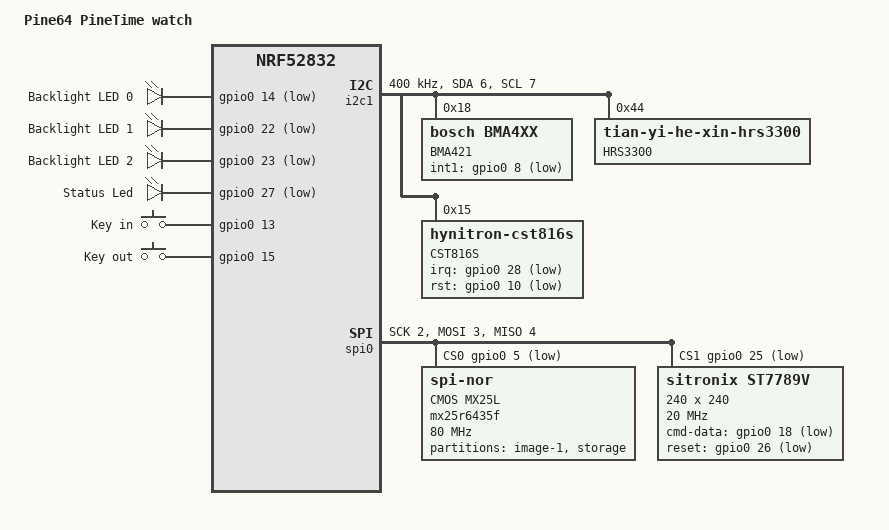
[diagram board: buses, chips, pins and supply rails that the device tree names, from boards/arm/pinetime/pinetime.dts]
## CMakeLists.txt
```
cmake_minimum_required(VERSION 3.20.0)

# Add the board
list(APPEND BOARD_ROOT ${CMAKE_CURRENT_LIST_DIR})

find_package(Zephyr REQUIRED HINTS $ENV{ZEPHYR_BASE})
project(ztime)

FILE(GLOB app_sources src/*.c src/ble/*.c)
target_sources(app PRIVATE ${app_sources})
target_include_directories(app PRIVATE src)
```

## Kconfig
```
menu "ztime"

rsource "Kconfig.log_backend_ble"
rsource "Kconfig.button"

endmenu

source "Kconfig.zephyr"
```

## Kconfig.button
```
config ZTIME_BUTTON
  bool "Enable pinetime button driver"
  select GPIO
  depends on BOARD_PINETIME
  help
    When enabled pinetime button driver is ready for using.

if ZTIME_BUTTON

config BUTTON_DEBOUNCE_DELAY_MS
  int "Time used to debounce the pressed key. Use 0 to disable the feature."
  default 5

config BUTTON_DOUBLE_CLICK_DURATION_MS
  int "Time used for double click detection."
  default 200

config BUTTON_HOLD_DURATION_MS
  int "Time used to detect button hold down."
  default 3000

config BUTTON_INIT_PRIORITY
  int "Init priority"
  default 60

endif # ZTIME_BUTTON
```

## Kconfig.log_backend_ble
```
config LOG_BACKEND_BLE_NUS
  bool "Enable BLE NUS backend"
  select RING_BUFFER
  depends on BT
  depends on LOG
  help
    When enabled backend is using BLE NUS service to output logs.

if LOG_BACKEND_BLE_NUS

config LOG_BACKEND_BLE_NUS_THREAD_STACKSIZE
  int "Size of stack area used by BLE_LOG thread"
  default 1024

config LOG_BACKEND_BLE_NUS_THREAD_PRIORITY
  int "Scheduling priority used by BLE_LOG thread"
  default 7

config LOG_BACKEND_BLE_NUS_BUFFER_SIZE
  int "Size of buffer which used by BLE_LOG thread"
  default 1024

config LOG_BACKEND_BLE_NUS_SYST_ENABLE
  bool "MIPI SyS-T"
  depends on LOG_BACKEND_BLE_NUS
  depends on LOG_MIPI_SYST_ENABLE
  help
    When enabled backend is using BLE to output syst format logs.

endif # LOG_BACKEND_BLE_NUS
```

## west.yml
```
# The west manifest file for ztime.
#
# The per-installation west configuration file specifies the location of this
# manifest file. The "path" option in the [manifest] section of .west/config
# defines the folder that contains west.yml. The path is relative to the folder
# that contains .west.
#
# You can create your own manifest files and put them in any
# repository you want, to create your own custom Pinetime installation.
# For example, you could create a manifest file in your own
# out-of-tree application directory, which would pull the pinetime repository
# in as an ordinary project.
#
# You can pass your manifest repositories to west init when creating a
# new pinetime installation. See the west documentation for more
# information.

manifest:
  defaults:
    remote: ztime

  remotes:
    - name: ztime
      url-base: https://github.com/zephyrproject-rtos

  projects:
    - name: cmsis
      revision: b0612c97c1401feeb4160add6462c3627fe90fc7
      path: modules/hal/cmsis
    - name: hal_nordic
      revision: a6e5299041f152da5ae0ab17b2e44e088bb96d6d
      path: modules/hal/nordic
    - name: mcuboot
      revision: 70bfbd21cdf5f6d1402bc8d0031e197222ed2ec0
      path: bootloader/mcuboot
    - name: mcumgr
      revision: 31a2aa9cea58d3ceecbf0d5b91361bff7c94aeca
      path: modules/lib/mcumgr
    - name: tinycbor
      revision: 40daca97b478989884bffb5226e9ab73ca54b8c4
      path: modules/lib/tinycbor
    - name: segger
      revision: 3a52ab222133193802d3c3b4d21730b9b1f1d2f6
      path: modules/debug/segger
    - name: zephyr
      west-commands: scripts/west-commands.yml
      revision: v2.7.0
  self:
    path: ztime
```

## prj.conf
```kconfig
# Enable flash operations.
CONFIG_FLASH=y
CONFIG_SPI_NOR=y
CONFIG_SPI=y
CONFIG_SPI_NRFX=y
CONFIG_SPI_NOR_IDLE_IN_DPD=y

# Required by the `taskstat` command.
#CONFIG_THREAD_MONITOR=y

# Allow device reboot
CONFIG_REBOOT=y

# Enable mcumgr.
CONFIG_MCUMGR=y

# Ensure an MCUboot-compatible binary is generated.
CONFIG_BOOTLOADER_MCUBOOT=y

# Enable most core commands.
CONFIG_MCUMGR_CMD_IMG_MGMT=y
CONFIG_MCUMGR_CMD_OS_MGMT=y

# Some command handlers require a large stack.
CONFIG_SYSTEM_WORKQUEUE_STACK_SIZE=2304



# Bluetooth
CONFIG_BT=y
CONFIG_BT_PERIPHERAL=y
CONFIG_BT_ATT_PREPARE_COUNT=5
CONFIG_BT_DEVICE_NAME="ztime"
CONFIG_BT_DEVICE_APPEARANCE=833
CONFIG_BT_GATT_CLIENT=y

# Remove warning
CONFIG_BT_GATT_CACHING=n

# Allow for large Bluetooth data packets.
CONFIG_BT_L2CAP_TX_MTU=252
CONFIG_BT_BUF_ACL_RX_SIZE=256

# Enable the Bluetooth (unauthenticated) and UART mcumgr transports.
CONFIG_MCUMGR_SMP_BT=y
CONFIG_MCUMGR_SMP_BT_AUTHEN=n
CONFIG_MCUMGR_SMP_UART=n

# Disable Bluetooth unused features
CONFIG_BT_GATT_READ_MULTIPLE=n

# Disable statistics and statistic names.
CONFIG_STATS_NAMES=n

# Logging
CONFIG_LOG=y
CONFIG_LOG_MODE_IMMEDIATE=y
CONFIG_LOG_BACKEND_BLE_NUS=y



# Project specific
CONFIG_ZTIME_BUTTON=y
```

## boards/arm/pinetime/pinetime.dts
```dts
/*
 * Copyright (c) 2020 Stephane Dorre <stephane.dorre@gmail.com>
 * Copyright (c) 2021 Alex Dolzhenkov <admin@alexx.pw>
 *
 * SPDX-License-Identifier: Apache-2.0
 *
 * DTS for Pine64 PineTime watch board
 * Further info: https://wiki.pine64.org/index.php/PineTime
 */

/dts-v1/;
#include <freq.h>
#include <nordic/nrf52832_qfaa.dtsi>

/ {
	model = "Pine64 PineTime watch";
	compatible = "pine64,pinetime-watch";

	chosen {
		zephyr,sram = &sram0;
		zephyr,flash = &flash0;
		zephyr,code-partition = &slot0_partition;
	};

	aliases {
		led0 = &blled0;	/* backlight low */
		led1 = &blled1;	/* backlight mid */
		led2 = &blled2;	/* backlight high */
		led3 = &statusled;	/* status led, may be not populated */
	};

	leds {
		compatible = "gpio-leds";
		blled0: bl_led_0 {
			gpios = <&gpio0 14 GPIO_ACTIVE_LOW>;
			label = "Backlight LED 0";
		};
		blled1: bl_led_1 {
			gpios = <&gpio0 22 GPIO_ACTIVE_LOW>;
			label = "Backlight LED 1";
		};
		blled2: bl_led_2 {
			gpios = <&gpio0 23 GPIO_ACTIVE_LOW>;
			label = "Backlight LED 2";
		};
		statusled: led_3 {
			gpios = <&gpio0 27 GPIO_ACTIVE_LOW>;
			label = "Status Led";
		};
	};

	buttons {
		compatible = "gpio-keys";
		key_in: button_0 {
			gpios = <&gpio0 13 GPIO_ACTIVE_HIGH>;
			label = "Key in";
		};
		key_out: button_1 {
			gpios = <&gpio0 15 GPIO_ACTIVE_HIGH>;
			label = "Key out";
		};
	};
};

&gpiote {
	status = "okay";
};

&gpio0 {
	status = "okay";
};

&i2c1 {
	compatible = "nordic,nrf-twim";
	status = "okay";
	sda-pin = <6>;
	scl-pin = <7>;
	clock-frequency = <I2C_BITRATE_FAST>; /* 400KHz */

	/* BOSCH BMA421 Triaxial Acceleration Sensor (1000KHz) */
	bma421: bma421@18 {
		compatible = "bosch,bma4xx";
		reg = <0x18>;
		label = "BMA421";
		int1-gpios = <&gpio0 8 GPIO_ACTIVE_LOW>;
	};

	/* TianYiHeXin HRS3300 PPG Hear Rate Sensor (800KHz) */
	hrs3300: hrs3300@44 {
		compatible = "tian-yi-he-xin-hrs3300";
		reg = <0x44>;
		label = "HRS3300";
	};

	/* Hynitron CST816S Capacitive Touch Controller (400KHz) */
	cst816s: cst816s@15 {
		compatible = "hynitron-cst816s";
		reg = <0x15>;
		label = "CST816S";
		irq-gpios = <&gpio0 28 GPIO_ACTIVE_LOW>;
		rst-gpios = <&gpio0 10 GPIO_ACTIVE_LOW>;
	};
};

&spi0 {
	compatible = "nordic,nrf-spi";
	status = "okay";
	sck-pin = <2>;
	mosi-pin = <3>;
	miso-pin = <4>;

	cs-gpios = <&gpio0 5 GPIO_ACTIVE_LOW>, <&gpio0 25 GPIO_ACTIVE_LOW>;

	/* Macronix MX25L CMOS Flash Memory */
	flash1: mx25r6435f@0 {
		compatible = "jedec,spi-nor";
		reg = <0>;
		spi-max-frequency = <DT_FREQ_M(80)>; /* 80MHz */
		label = "CMOS MX25L";
		jedec-id = [0b 40 16];
		size = <67108864>;
	};

	/* Sitronix ST7789V LCD */
	st7789v: st7789v@1 {
		compatible = "sitronix,st7789v";
		reg = <1>;
		spi-max-frequency = <DT_FREQ_M(20)>; /* 20MHz */
		label = "ST7789V";
		cmd-data-gpios = <&gpio0 18 GPIO_ACTIVE_LOW>;	/* DET */
		reset-gpios = <&gpio0 26 GPIO_ACTIVE_LOW>;	/* RESX reset */
		width = <240>;
		height = <240>;
		x-offset = <0>;
		y-offset = <0>;
		vcom = <0x19>;
		gctrl = <0x35>;
		vrhs = <0x12>;
		vdvs = <0x20>;
		mdac = <0x00>;
		gamma = <0x01>;
		colmod = <0x05>;
		lcm = <0x2c>;
		porch-param = [0c 0c 00 33 33];
		cmd2en-param = [5a 69 02 01];
		pwctrl1-param = [a4 a1];
		pvgam-param = [D0 04 0D 11 13 2B 3F 54 4C 18 0D 0B 1F 23];
		nvgam-param = [D0 04 0C 11 13 2C 3F 44 51 2F 1F 1F 20 23];
		ram-param = [00 F0];
		rgb-param = [CD 08 14];
	};
};

&flash0 {
	/*
	 * For more information, see:
	 * https://docs.zephyrproject.org/latest/guides/dts/legacy-macros.html#legacy-flash-partitions
	 */
	partitions {
		compatible = "fixed-partitions";
		#address-cells = <1>;
		#size-cells = <1>;

		boot_partition: partition@0 {
			label = "mcuboot";
			reg = <0x00000000 0x8000>;
		};
		slot0_partition: partition@8000 {
			label = "image-0";
			reg = <0x00008000 0x74000>;
		};
		scratch_partition: partition@7c000 {
			label = "image-scratch";
			reg = <0x0007c000 0xa000>;
		};
	};
};

&flash1 {
	/*
	 * For more information, see:
	 * https://docs.zephyrproject.org/latest/guides/dts/legacy-macros.html#legacy-flash-partitions
	 */
	partitions {
		compatible = "fixed-partitions";
		#address-cells = <1>;
		#size-cells = <1>;

		slot1_partition: partition@40000 {
			label = "image-1";
			reg = <0x00040000 0x74000>;
		};
		storage_partition: partition@b4000 {
			label = "storage";
			reg = <0x000b4000 0x0034c000>;
		};
	};
};
```

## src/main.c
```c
#include "ble/ble.h"        // for ble_init()
#include "button.h"         // for button_*()

#include <zephyr.h>
#include <power/reboot.h>   // for sys_reboot()

#ifdef CONFIG_MCUMGR_CMD_OS_MGMT
#include "os_mgmt/os_mgmt.h"
#endif
#ifdef CONFIG_MCUMGR_CMD_IMG_MGMT
#include "img_mgmt/img_mgmt.h"
#endif
#ifdef CONFIG_MCUMGR_CMD_STAT_MGMT
#include "stat_mgmt/stat_mgmt.h"
#endif
#ifdef CONFIG_MCUMGR_CMD_SHELL_MGMT
#include "shell_mgmt/shell_mgmt.h"
#endif

#include <logging/log.h>
LOG_MODULE_REGISTER(ztime, LOG_LEVEL_INF);


static bool wdt_is_enabled(void)
{
  return NRF_WDT->RUNSTATUS;
}

static void wdt_feed(void)
{
  NRF_WDT->RR[0] = WDT_RR_RR_Reload;
}

static void button_click_handler(void *unused)
{
  LOG_INF("click");
}

static void button_double_click_handler(void *unused)
{
  LOG_INF("double click");
}

static void button_hold_handler(void *unused)
{
  sys_reboot(SYS_REBOOT_COLD);
}

void main(void)
{
#ifdef CONFIG_MCUMGR_CMD_OS_MGMT
  os_mgmt_register_group();
#endif
#ifdef CONFIG_MCUMGR_CMD_IMG_MGMT
  img_mgmt_register_group();
#endif
#ifdef CONFIG_MCUMGR_CMD_STAT_MGMT
  stat_mgmt_register_group();
#endif
#ifdef CONFIG_MCUMGR_CMD_SHELL_MGMT
  shell_mgmt_register_group();
#endif

#ifdef CONFIG_BT
  ble_init();
#endif

  button_set_click_handler(button_click_handler, NULL);
  button_set_double_click_handler(button_double_click_handler, NULL);
  button_set_hold_handler(button_hold_handler, NULL);

  /* The system work queue handles all incoming mcumgr requests.  Let the
   * main thread idle while the mcumgr server runs.
   */
  for (size_t i = 0; i < 1800; i++) { // 30 minutes
    if (wdt_is_enabled()) {
      wdt_feed();
    }
    //k_cpu_idle();
    k_msleep(1000); // should be less 7 seconds to avoid WDT reboot
  }

  sys_reboot(SYS_REBOOT_COLD);
}
```

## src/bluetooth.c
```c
#include "bluetooth.h"

#include <zephyr.h>
#include <stddef.h>

#include <bluetooth/bluetooth.h>
#include <bluetooth/conn.h>
#include <bluetooth/gatt.h>

#ifdef CONFIG_MCUMGR_SMP_BT
#include <mgmt/mcumgr/smp_bt.h>
#endif

#include <logging/log.h>
LOG_MODULE_REGISTER(ztime_bluetooth, LOG_LEVEL_INF);


static struct k_work advertise_work;

static const struct bt_data ad[] = {
  BT_DATA_BYTES(BT_DATA_FLAGS, (BT_LE_AD_GENERAL | BT_LE_AD_NO_BREDR)),
  BT_DATA_BYTES(BT_DATA_UUID128_ALL,
          0x84, 0xaa, 0x60, 0x74, 0x52, 0x8a, 0x8b, 0x86,
          0xd3, 0x4c, 0xb7, 0x1d, 0x1d, 0xdc, 0x53, 0x8d),
};

static void advertise(struct k_work *work)
{
  (void)bt_le_adv_stop();

  int ret = bt_le_adv_start(BT_LE_ADV_CONN_NAME, ad, ARRAY_SIZE(ad), NULL, 0);
  if (ret < 0) {
    LOG_ERR("Advertising failed to start (error %d)", ret);
    return;
  }

  LOG_INF("Advertising successfully started");
}

void bluetooth_init(void)
{
  k_work_init(&advertise_work, advertise);

  /* Enable Bluetooth. */
  int ret = bt_enable(NULL);
  if (ret < 0) {
    LOG_ERR("Bluetooth init failed (error %d)", ret);
    return;
  }

  LOG_INF("Bluetooth initialized");
  k_work_submit(&advertise_work);

#ifdef CONFIG_MCUMGR_SMP_BT
  /* Initialize the Bluetooth mcumgr transport. */
  smp_bt_register();
#endif
}
```

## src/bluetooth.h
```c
#ifndef ZTIME_INCLUDE_BLUETOOTH_H
#define ZTIME_INCLUDE_BLUETOOTH_H

void bluetooth_init(void);

#endif /* ZTIME_INCLUDE_BLUETOOTH_H */
```

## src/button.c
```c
#ifdef CONFIG_ZTIME_BUTTON

#include "button.h"
#include "button_internal.h"

#include <assert.h>

#include <logging/log.h>
LOG_MODULE_REGISTER(ztime_button, LOG_LEVEL_INF);


static button_t button = BUTTON_DEFAULT_CFG;

void button_set_click_handler(button_handler_t handler, void *arg)
{
  unsigned int key = irq_lock();
  button.click_handler = handler;
  button.click_handler_arg = arg;
  irq_unlock(key);
}

#if (CONFIG_BUTTON_DOUBLE_CLICK_DURATION_MS > 0)
void button_set_double_click_handler(button_handler_t handler, void *arg)
{
  unsigned int key = irq_lock();
  button.double_click_handler = handler;
  button.double_click_handler_arg = arg;
  irq_unlock(key);
}
#endif

#if (CONFIG_BUTTON_HOLD_DURATION_MS > 0)
void button_set_hold_handler(button_handler_t handler, void *arg)
{
  unsigned int key = irq_lock();
  button.hold_handler = handler;
  button.hold_handler_arg = arg;
  irq_unlock(key);
}
#endif

static void button_update_sm(struct k_timer *timer)
{
#if (CONFIG_BUTTON_DOUBLE_CLICK_DURATION_MS > 0) || (CONFIG_BUTTON_HOLD_DURATION_MS > 0)
  int64_t delta_ms = k_uptime_delta(&button.reftime_ms);
#endif
  bool is_pressed = gpio_pin_get_dt(&button.in);
  button_handler_t handler = NULL;
  void *handler_arg = NULL;

  unsigned int key = irq_lock();

  switch (button.state) {
  case BUTTON_STATE_IDLE:
    if (is_pressed) {
      LOG_DBG("Button is pressed");
      button.state = BUTTON_STATE_PRESSED;
#if (CONFIG_BUTTON_HOLD_DURATION_MS > 0)
      k_timer_start(&button.timer, K_MSEC(CONFIG_BUTTON_HOLD_DURATION_MS), K_NO_WAIT);
#endif
    } else {
      LOG_WRN("Unexpected button state: IDLE");
      button.state = BUTTON_STATE_IDLE;
    }
    break;

  case BUTTON_STATE_PRESSED:
    if (!is_pressed) {
      LOG_DBG("Button is released");
#if (CONFIG_BUTTON_DOUBLE_CLICK_DURATION_MS > 0)
      button.state = BUTTON_STATE_RELEASED;
      k_timer_start(&button.timer, K_MSEC(CONFIG_BUTTON_DOUBLE_CLICK_DURATION_MS), K_NO_WAIT);
#else
      button.state = BUTTON_STATE_IDLE;
      handler = button.click_handler;
      handler_arg = button.click_handler_arg;
#endif
#if (CONFIG_BUTTON_HOLD_DURATION_MS > 0)
    } else if (is_pressed && (delta_ms >= CONFIG_BUTTON_HOLD_DURATION_MS)) {
      LOG_DBG("Button is held");
      button.state = BUTTON_STATE_HELD;
      handler = button.hold_handler;
      handler_arg = button.hold_handler_arg;
#endif
    } else {
      LOG_WRN("Unexpected button state: PRESSED");
      button.state = BUTTON_STATE_IDLE;
    }
    break;

#if (CONFIG_BUTTON_DOUBLE_CLICK_DURATION_MS > 0)
  case BUTTON_STATE_RELEASED:
    if (!is_pressed && (delta_ms >= CONFIG_BUTTON_DOUBLE_CLICK_DURATION_MS)) {
      LOG_DBG("Button click is proved");
      button.state = BUTTON_STATE_IDLE;
      handler = button.click_handler;
      handler_arg = button.click_handler_arg;
    } else if (is_pressed && (delta_ms < CONFIG_BUTTON_DOUBLE_CLICK_DURATION_MS)) {
      LOG_DBG("Button is double pressed");
      button.state = BUTTON_STATE_DOUBLE_PRESSED;
      handler = button.double_click_handler;
      handler_arg = button.double_click_handler_arg;
      k_timer_stop(&button.timer);
    } else {
      LOG_WRN("Unexpected button state: RELEASED");
      button.state = BUTTON_STATE_IDLE;
    }
    break;

  case BUTTON_STATE_DOUBLE_PRESSED:
    if (!is_pressed) {
      LOG_DBG("Button is released*");
      button.state = BUTTON_STATE_IDLE;
    } else {
      LOG_WRN("Unexpected button state: DOUBLE_PRESSED");
      button.state = BUTTON_STATE_IDLE;
    }
    break;
#endif

#if (CONFIG_BUTTON_HOLD_DURATION_MS > 0)
  case BUTTON_STATE_HELD:
    if (!is_pressed) {
      LOG_DBG("Button is released*");
      button.state = BUTTON_STATE_IDLE;
    } else {
      LOG_WRN("Unexpected button state: HELD");
      button.state = BUTTON_STATE_IDLE;
    }
    break;
#endif

  default:
    LOG_ERR("Unexpected button state: %d", button.state);
    button.state = BUTTON_STATE_IDLE;
    break;
  }

  irq_unlock(key);

  if (handler != NULL) {
    (*handler)(handler_arg);
  }
}

static void button_irq_handler(const struct device *gpiobtn, struct gpio_callback *cb, uint32_t pins)
{
#if (CONFIG_BUTTON_DEBOUNCE_DELAY_MS > 0)
  // Here we use a timer to be able to read the stable state of the button after debounce delay
  k_timer_start(&button.timer, K_MSEC(CONFIG_BUTTON_DEBOUNCE_DELAY_MS), K_NO_WAIT);
#else
  button_update_sm(&button.timer);
#endif
}

static int button_init(const struct device *dev)
{
  k_timer_init(&button.timer, button_update_sm, NULL);

  (void)gpio_pin_configure_dt(&button.in, GPIO_INPUT);
  (void)gpio_pin_configure_dt(&button.out, GPIO_OUTPUT_ACTIVE);

  (void)gpio_pin_interrupt_configure_dt(&button.in, GPIO_INT_EDGE_BOTH);

  gpio_init_callback(&button.cb, &button_irq_handler, BIT(button.in.pin));
  (void)gpio_add_callback(button.in.port, &button.cb);

  return 0;
}

SYS_INIT(button_init, POST_KERNEL, CONFIG_BUTTON_INIT_PRIORITY);

#endif // CONFIG_ZTIME_BUTTON
```

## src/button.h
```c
#ifndef ZTIME_INCLUDE_BUTTON_H
#define ZTIME_INCLUDE_BUTTON_H

typedef void (*button_handler_t)(void *);

void button_set_click_handler(button_handler_t handler, void *arg);

#if (CONFIG_BUTTON_DOUBLE_CLICK_DURATION_MS > 0)
void button_set_double_click_handler(button_handler_t handler, void *arg);
#endif

#if (CONFIG_BUTTON_HOLD_DURATION_MS > 0)
void button_set_hold_handler(button_handler_t handler, void *arg);
#endif

#endif /* ZTIME_INCLUDE_BUTTON_H */
```

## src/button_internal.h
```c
#ifndef ZTIME_INCLUDE_BUTTON_INTERNAL_H
#define ZTIME_INCLUDE_BUTTON_INTERNAL_H

#include "button.h"
#include <stdint.h>       // for int64_t
#include <zephyr.h>       // for struct k_timer
#include <drivers/gpio.h> // for struct gpio_dt_spec


typedef enum {
  BUTTON_STATE_IDLE,
  BUTTON_STATE_PRESSED,
#if (CONFIG_BUTTON_DOUBLE_CLICK_DURATION_MS > 0)
  BUTTON_STATE_RELEASED,
  BUTTON_STATE_DOUBLE_PRESSED,
#endif
#if (CONFIG_BUTTON_HOLD_DURATION_MS > 0)
  BUTTON_STATE_HELD,
#endif
} button_state_t;

typedef struct {
  button_handler_t click_handler;
  void *click_handler_arg;
#if (CONFIG_BUTTON_DOUBLE_CLICK_DURATION_MS > 0)
  button_handler_t double_click_handler;
  void *double_click_handler_arg;
#endif
#if (CONFIG_BUTTON_HOLD_DURATION_MS > 0)
  button_handler_t hold_handler;
  void *hold_handler_arg;
#endif

  const struct gpio_dt_spec in;
  const struct gpio_dt_spec out;
  struct gpio_callback cb;
  button_state_t state;
  struct k_timer timer;
#if (CONFIG_BUTTON_DOUBLE_CLICK_DURATION_MS > 0) || (CONFIG_BUTTON_HOLD_DURATION_MS > 0)
  int64_t reftime_ms;
#endif
} button_t;

#define BUTTON_DEFAULT_CFG {                              \
  .in = GPIO_DT_SPEC_GET(DT_NODELABEL(key_in), gpios),    \
  .out = GPIO_DT_SPEC_GET(DT_NODELABEL(key_out), gpios),  \
}

#endif /* ZTIME_INCLUDE_BUTTON_INTERNAL_H */
```
